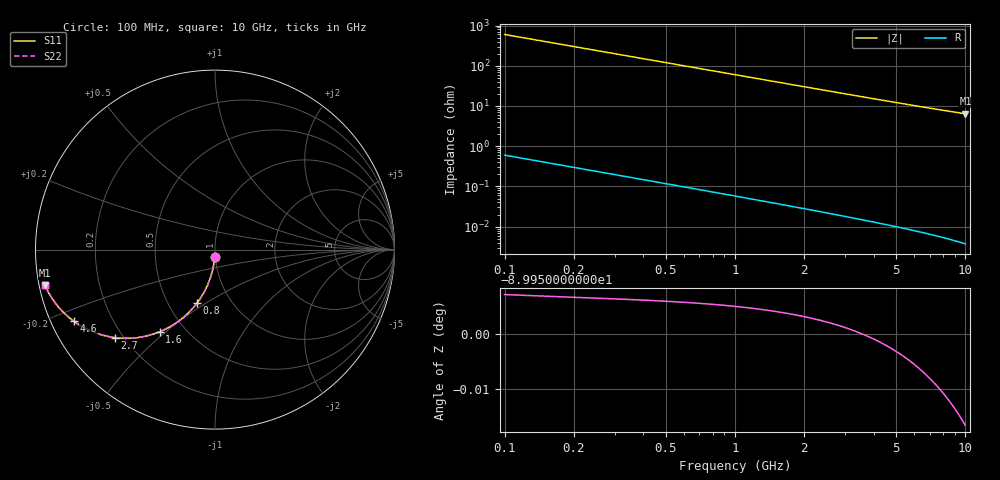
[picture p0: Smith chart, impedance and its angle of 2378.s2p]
# Hz S RI R 50.00
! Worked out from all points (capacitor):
!   100 points, 100 MHz to 10 GHz, reference 50 ohm
!   read as one part in shunt: C = 2.65 pF near 100 MHz
!   lowest |Z| = 6.41 ohm at 10 GHz (marker M1)
!   S11 on the Smith chart (normalised r, x): 100 MHz: 0.99, -0.08; 800 MHz: 0.69, -0.46; 1.6 GHz: 0.36, -0.48; 2.7 GHz: 0.17, -0.37; 4.6 GHz: 0.07, -0.24; 10 GHz: 0.02, -0.10
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1e8  -0.00167 -0.0414  0.9981 -0.0418  0.9981 -0.0418  -0.00167 -0.0414
2e8  -0.00688 -0.0823  0.9929 -0.0832  0.9929 -0.0832  -0.00688 -0.0823
3e8  -0.0154 -0.1224  0.9844 -0.1237  0.9844 -0.1237  -0.0154 -0.1224
4e8  -0.0271 -0.1613  0.9727 -0.163  0.9727 -0.163  -0.0271 -0.1613
5e8  -0.0417 -0.1986  0.9581 -0.2007  0.9581 -0.2007  -0.0417 -0.1986
6e8  -0.059 -0.234  0.9408 -0.2365  0.9408 -0.2365  -0.059 -0.234
8e8  -0.1002 -0.2982  0.8996 -0.3016  0.8996 -0.3016  -0.1002 -0.2982
1e9  -0.1482 -0.3527  0.8516 -0.357  0.8516 -0.357  -0.1482 -0.3527
1.2e9  -0.2003 -0.3972  0.7995 -0.4024  0.7995 -0.4024  -0.2003 -0.3972
1.4e9  -0.2542 -0.432  0.7455 -0.438  0.7455 -0.438  -0.2542 -0.432
1.6e9  -0.3081 -0.4578  0.6917 -0.4647  0.6917 -0.4647  -0.3081 -0.4578
1.8e9  -0.3604 -0.4758  0.6393 -0.4835  0.6393 -0.4835  -0.3604 -0.4758
2.2e9  -0.4571 -0.4929  0.5426 -0.5024  0.5426 -0.5024  -0.4571 -0.4929
2.7e9  -0.5593 -0.4901  0.4404 -0.5018  0.4404 -0.5018  -0.5593 -0.4901
3.4e9  -0.6683 -0.4628  0.3313 -0.4776  0.3313 -0.4776  -0.6683 -0.4628
4e9  -0.7364 -0.4312  0.2632 -0.4487  0.2632 -0.4487  -0.7364 -0.4312
4.6e9  -0.7873 -0.3985  0.2123 -0.4186  0.2123 -0.4186  -0.7873 -0.3985
5.1e9  -0.8201 -0.3722  0.1794 -0.3945  0.1794 -0.3945  -0.8201 -0.3722
5.8e9  -0.8553 -0.3382  0.1441 -0.3637  0.1441 -0.3637  -0.8553 -0.3382
6.7e9  -0.8879 -0.2997  0.1114 -0.3293  0.1114 -0.3293  -0.8879 -0.2997
8.4e9  -0.9263 -0.2411  0.0727 -0.2786  0.0727 -0.2786  -0.9263 -0.2411
1e10  -0.9474 -0.1988  0.0513 -0.244  0.0513 -0.244  -0.9474 -0.1988
